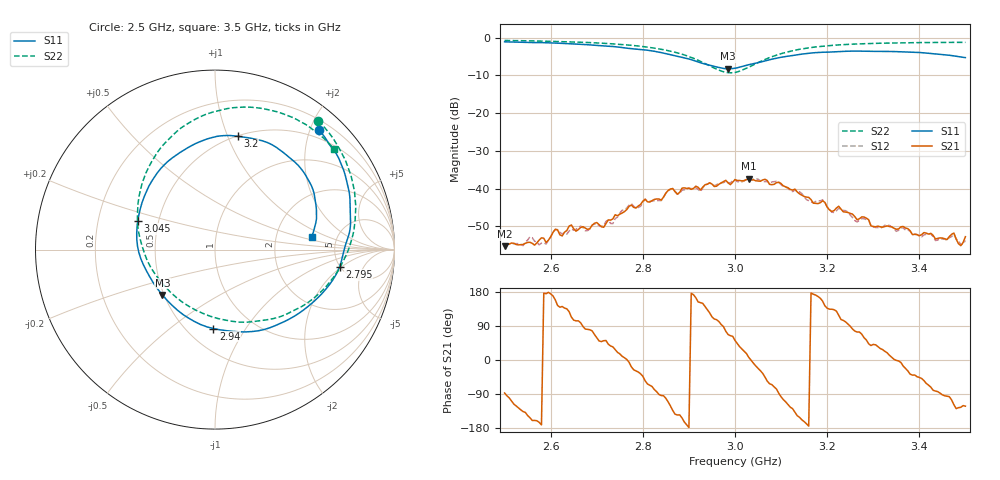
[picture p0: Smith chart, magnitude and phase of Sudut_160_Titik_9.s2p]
# Hz S RI R 50
! CMT, C1220, 16058040, 17.2.0/1
! Date: 15/08/2018 09:48:16
! Data: Format (Calibration Info)
! Freq  S11: Re/Im (F2)  S21: Re/Im (F2)  S12: Re/Im (F2)  S22: Re/Im (F2)
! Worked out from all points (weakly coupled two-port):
!   201 points, 2.5 GHz to 3.5 GHz, reference 50 ohm
!   highest |S21| = -37.41 dB at 3.03 GHz (marker M1); lowest = -55.3 dB at 2.5 GHz (marker M2)
!   lowest |S11| = -8.2 dB at 2.985 GHz (marker M3), VSWR 2.26, Z = 24.5 - j14.5 ohm
!   |S11| at or under -10 dB: nowhere
!   |S22| runs from -9.3 to -0.7 dB; largest |S21 - S12| = 0.0012
!   S11 on the Smith chart (normalised r, x): 2.5 GHz: 0.35, +2.14; 2.795 GHz: 4.94, -1.87; 2.94 GHz: 0.67, -0.73; 3.045 GHz: 0.38, +0.16; 3.2 GHz: 0.50, +1.09; 3.5 GHz: 3.24, +0.67
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2.5e9  0.5769 0.6679  8.9e-05 -0.00172  0.000109 -0.00183  0.5751 0.7181
2.59e9  0.6858 0.5161  -0.00192 0.000172  -0.00184 6.55e-05  0.6727 0.5964
2.61e9  0.7028 0.477  -0.00269 0.00105  -0.00269 0.00098  0.6929 0.5622
2.67e9  0.7463 0.3266  7.34e-05 0.00312  0.00028 0.00303  0.7472 0.4442
2.715e9  0.7538 0.1916  0.00194 0.00238  0.002 0.00254  0.7756 0.3338
2.775e9  0.7166 -0.0135  0.00576 -0.00185  0.00595 -0.00212  0.779 0.1487
2.795e9  0.6939 -0.0964  0.00495 -0.00365  0.00462 -0.00354  0.7674 0.0782
2.835e9  0.5954 -0.2456  -0.000125 -0.00727  0.000101 -0.00694  0.7066 -0.0786
2.865e9  0.4639 -0.3572  -0.00689 -0.00725  -0.00681 -0.00736  0.6207 -0.2038
2.94e9  -0.00898 -0.4399  -0.00775 0.00839  -0.00798 0.00825  0.1738 -0.4047
2.985e9  -0.2935 -0.2526  0.00461 0.011  0.00413 0.0113  -0.1814 -0.2931
3e9  -0.363 -0.1525  0.00816 0.0103  0.00876 0.00992  -0.2799 -0.2037
3.03e9  -0.4356 0.0558  0.0134 0.00159  0.0133 0.00161  -0.4062 0.02
3.045e9  -0.4301 0.1607  0.0122 -0.00338  0.0131 -0.00347  -0.4315 0.141
3.105e9  -0.2614 0.4923  -0.00275 -0.0105  -0.00293 -0.0102  -0.3241 0.5374
3.17e9  0.0117 0.631  -0.00636 0.000718  -0.00648 0.00023  -0.0709 0.7451
3.2e9  0.1264 0.631  -0.00414 0.0039  -0.00402 0.00415  0.0424 0.7797
3.335e9  0.4787 0.4516  0.00307 0.000687  0.00319 0.000577  0.4173 0.7422
3.435e9  0.5641 0.2339  0.000299 -0.00212  0.000252 -0.00203  0.5869 0.6363
3.475e9  0.5581 0.1347  -0.00121 -0.00227  -0.00107 -0.00222  0.6367 0.5895
3.49e9  0.5477 0.0963  -0.001 -0.00144  -0.00109 -0.00143  0.6538 0.5705
3.5e9  0.5397 0.0727  -0.00121 -0.00195  -0.00126 -0.00162  0.6652 0.5579
